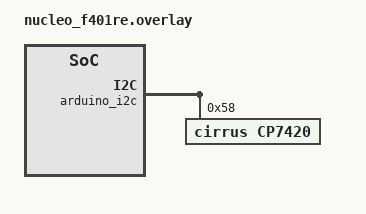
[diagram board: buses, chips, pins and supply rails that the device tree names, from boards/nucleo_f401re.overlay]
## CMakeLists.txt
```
# SPDX-License-Identifier: Apache-2.0

cmake_minimum_required(VERSION 3.20.0)
find_package(Zephyr REQUIRED HINTS $ENV{ZEPHYR_BASE})
project(cp7420)

FILE(GLOB app_sources src/*.c)
target_sources(app PRIVATE ${app_sources})
```

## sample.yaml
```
sample:
  description: Demonstration of the CP7420 charging IC driver
  name: CP7420 Sample
tests:
  sample.sensor.cp7420:
    harness: sensor
    platform_allow: nucleo_f401re
    integration_platforms:
      - nucleo_f401re
    tags: sensors
    depends_on: i2c
```

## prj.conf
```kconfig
CONFIG_I2C=y
CONFIG_LOG=y
CONFIG_SENSOR=y
CONFIG_CP7420=y
CONFIG_CBPRINTF_FP_SUPPORT=y
```

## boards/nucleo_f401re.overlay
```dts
/*
  * Copyright (c) 2022 Cirrus Logic Inc.
  *
  * SPDX-License-Identifier: Apache-2.0
  */

&arduino_i2c {
	status = "okay";

   cp7420@58 {
       compatible = "cirrus,cp7420";
       status = "okay";
       label = "CP7420";
       reg = <0x58>;
       charge-current-milliamps = <3000>;
       charge-voltage-millivolts = <8400>;
       maximum-system-millivolts = <9000>;
       minimum-system-millivolts = <8000>;
       input-ovp-config = <0x1>;
       low-battery-threshold = <0x1>;
       precharge-current-milliamps = <256>;
       battery-ovp-config = <0x1>;
       recharge-offset = <0x1>;
       recharge-deglitch = <0x1>;
       system-ovp-config = <0x1>;
       termination-current-milliamps = <0x1>;
       precharge-timer-config = <0x1>;
       fast-charge-timer-config = <0x1>;
       watchdog-timer-config = <0x1>;
       input-voltage-dpm-config = <0x1>;
       switching-frequency-config = <0x1>;
       ibat-softstart-config = <0x1>;
       rechg-ibat-softstart = <0x1>;
       system-softstart = <0x1>;
       dither-rate-config = <0x1>;
       dither-limit-config = <0x1>;
       input-sense-resistor-config = <0x1>;
       output-sense-resistor-config = <0x1>;
       psys-output-ratio-config = <0x1>;
       ocp-pwm-config = <0x1>;
       ocp-pfm-config = <0x1>;
       prochot-discharge-lower-limit = <0x1>;
       prochot-discharge-upper-limit = <0x1>;
   };
};
```

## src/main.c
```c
/*
 * Copyright (c) 2022 Cirrus Logic Inc.
 *
 * SPDX-License-Identifier: Apache-2.0
 */

#include <zephyr/kernel.h>
#include <zephyr/device.h>
#include <zephyr/devicetree.h>
#include <zephyr/drivers/sensor.h>

#define CP7420 DT_INST(0, cirrus_cp7420)

#if DT_NODE_HAS_STATUS(CP7420, okay)
#define CP7420_LABEL DT_LABEL(CP7420)
#else
#error Your devicetree has no enabled nodes with compatible "cirrus,cp7420"
#define CP7420_LABEL "<none>"
#endif

void main(void)
{
	const struct device *const dev = DEVICE_DT_GET_ANY(cirrus_cp7420);

	if (dev == NULL) {
		printk("No device found...\n");
		return;
	}

	while (1) {
	        printk("Found device %s\n", dev->name);
		k_sleep(K_MSEC(1000));
	}
}
```
